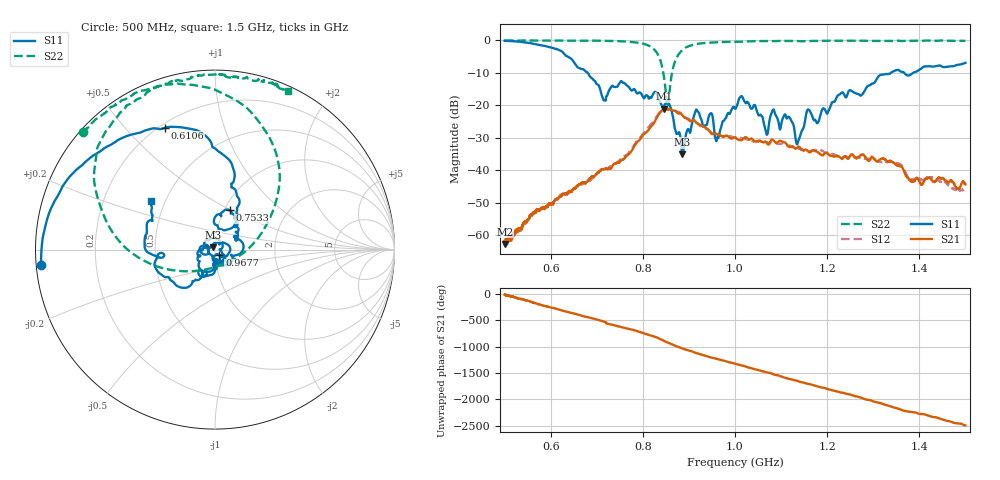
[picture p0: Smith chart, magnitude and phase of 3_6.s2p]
!Agilent Technologies,E8364B,US42250235,A.06.04.32
!Agilent E8364B: A.06.04.32
!Date: Thursday, October 01, 2020 14:56:43
!Correction: S11(Full 2 Port(1,2)) S21(Full 2 Port(1,2)) S12(Full 2 Port(1,2)) S22(Full 2 Port(1,2))
!S2P File: Measurements: S11, S21, S12, S22:
# Hz S  dB  R 50
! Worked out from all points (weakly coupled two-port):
!   2650 points, 500 MHz to 1.5 GHz, reference 50 ohm
!   highest |S21| = -21.11 dB at 846.2 MHz (marker M1); lowest = -62.7 dB at 500.4 MHz (marker M2)
!   lowest |S11| = -35.1 dB at 885.8 MHz (marker M3), VSWR 1.04, Z = 48.7 + j1.18 ohm
!   |S11| at or under -10 dB: 679.8 MHz to 1.339 GHz (659.2 MHz wide, 65.3 % of centre); 1.367 GHz to 1.387 GHz (20.57 MHz wide, 1.49 % of centre)
!   |S22| runs from -20.7 to -0.1 dB; largest |S21 - S12| = 0.0098
!   S11 on the Smith chart (normalised r, x): 500 MHz: 0.01, -0.04; 610.6 MHz: 0.22, +0.65; 753.3 MHz: 1.06, +0.49; 967.7 MHz: 1.05, -0.07; 1.5 GHz: 0.42, +0.28
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5e8  -0.23 -175.1  -61.89 -10.7  -63.39 -11.5  -0.15 138.4
5.003775e8  -0.24 -175.3  -62.72 -13.3  -61.71 -14.2  -0.14 138.4
6.106078e8  -2.69 112.4  -49.04 85.9  -49.10 74.5  -0.15 126.4
6.668554e8  -8.90 75.1  -43.87 -47.9  -44.33 -63.8  -0.21 120.1
7.15553e8  -18.58 68.4  -39.80 -162.5  -39.62 -179.9  -0.27 113.5
7.533031e8  -12.61 69.6  -37.02 93.7  -36.34 97.8  -0.38 105.9
8.053983e8  -17.19 34.2  -28.58 -33.4  -28.04 -31.7  -1.32 85.2
8.337108e8  -17.96 -13.5  -23.05 -116.0  -22.74 -120.3  -4.69 52.2
8.461684e8  -20.17 -18.7  -21.11 -169.0  -20.81 -173.2  -11.61 17.5
8.548509e8  -18.98 -48.0  -21.42 157.1  -21.15 151.8  -20.09 -92.7
8.85806e8  -35.11 136.2  -23.12 47.3  -23.03 41.2  -3.08 157.5
9.16761e8  -21.40 -1.9  -25.43 -41.3  -25.54 -46.8  -1.20 138.3
9.677237e8  -27.81 -52.0  -29.33 -168.3  -29.45 -172.6  -0.64 124.4
1.000189e9  -21.12 -95.3  -29.97 116.8  -29.94 110.9  -0.53 118.3
1.042846e9  -19.97 -167.0  -31.14 13.6  -31.19 8.5  -0.35 111.5
1.068139e9  -28.82 -179.6  -31.46 -46.8  -31.34 -52.1  -0.33 108.1
1.081729e9  -21.61 -172.3  -30.65 -78.1  -31.81 -83.6  -0.33 106.5
1.112684e9  -24.14 122.1  -32.14 -162.0  -32.40 -161.8  -0.25 104.2
1.135712e9  -31.82 4.2  -32.96 150.4  -33.34 144.7  -0.29 102.3
1.166667e9  -23.08 -90.6  -34.04 79.0  -34.00 75.0  -0.28 97.9
1.333522e9  -10.42 -149.3  -37.29 38.5  -37.51 37.6  -0.27 82.1
1.5e9  -7.01 142.6  -44.40 23.4  -46.86 29.5  -0.25 65.2
